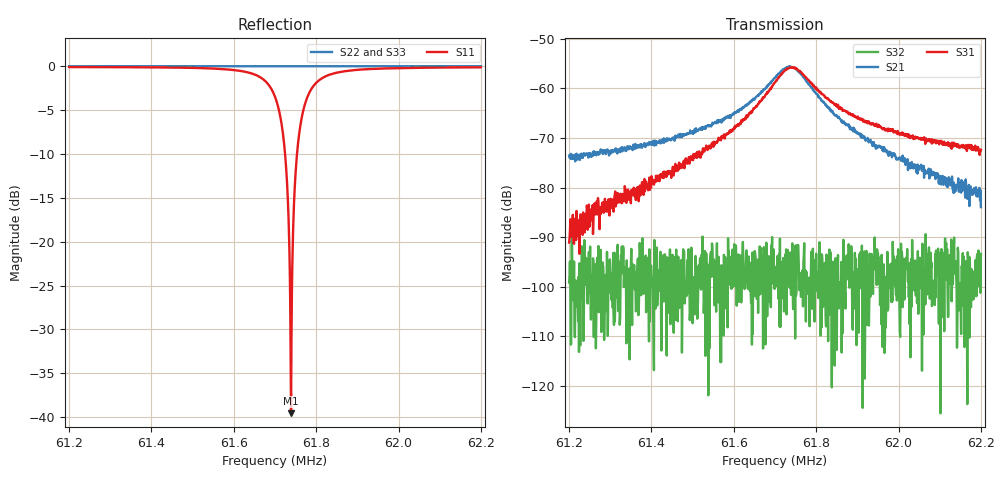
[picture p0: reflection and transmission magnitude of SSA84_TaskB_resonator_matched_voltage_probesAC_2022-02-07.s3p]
#  HZ  S  DB  R  50.00
! Rohde & Schwarz Vector Network Analyzer
! Rohde-Schwarz,ZNB8-4Port,1311601044102961,2.82
! Created: UTC 2/7/2022, 2:55:17 PM
! freq[Hz]  db:S11  ang:S11  db:S12  ang:S12  db:S13  ang:S13
!  db:S21  ang:S21  db:S22  ang:S22  db:S23  ang:S23
!  db:S31  ang:S31  db:S32  ang:S32  db:S33  ang:S33
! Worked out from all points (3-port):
!   1001 points, 61.2 MHz to 62.2 MHz, reference 50 ohm
!   strongest paths, dB at 61.2 MHz, 61.45 MHz, 61.7 MHz, 61.95 MHz, 62.2 MHz:
!     S31: -91.1, -76.8, -58.8, -67.7, -72.4
!     S21: -73.6, -70.3, -57.9, -71.9, -83.9
!     S32: -99.2, -96.9, -96.0, -93.3, -93.4
!   lowest |S11| = -39.6 dB at 61.739 MHz (marker M1), VSWR 1.02, Z = 51 + j0.429 ohm
!   |S11| at or under -10 dB: 61.72441 MHz to 61.75349 MHz (29.08 kHz wide, 0.0471 % of centre)
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6.12e7  -0.12 12.4  -74.03 71.7  -88.25 -124.3
        -73.55 68.2  -0.02 -46.3  -95.10 -164.5
        -91.08 -141.1  -99.17 -26.2  -0.02 -41.5
6.1409e7  -0.16 6.0  -70.77 64.9  -78.34 -113.1
          -71.35 69.5  -0.03 -46.4  -90.73 124.5
          -78.57 -119.7  -93.30 98.0  -0.02 -41.7
6.1626e7  -0.64 -11.1  -63.67 51.9  -66.09 -126.9
          -63.74 50.9  -0.03 -46.6  -101.18 118.0
          -66.31 -127.7  -100.47 -20.1  -0.01 -41.8
6.17e7  -3.50 -39.4  -57.87 24.3  -58.83 -156.4
        -57.87 24.3  -0.03 -46.6  -98.80 -96.0
        -58.79 -156.5  -95.98 -0.5  -0.02 -41.9
6.1724e7  -9.78 -62.1  -55.95 0.2  -56.42 -179.5
          -55.97 0.8  -0.03 -46.7  -105.88 46.2
          -56.36 -179.9  -97.69 45.5  -0.01 -41.9
6.1739e7  -39.55 23.5  -55.68 -19.3  -55.79 160.7
          -55.64 -19.2  -0.03 -46.7  -95.88 40.9
          -55.82 160.9  -101.64 -12.6  -0.01 -41.9
6.1757e7  -8.37 72.4  -56.58 -41.7  -56.36 137.8
          -56.54 -41.9  -0.03 -46.7  -100.94 95.0
          -56.43 137.9  -93.14 92.9  -0.02 -41.9
6.1796e7  -2.12 43.0  -60.78 -71.1  -59.73 106.8
          -60.71 -71.2  -0.03 -46.7  -98.61 -96.9
          -59.76 108.3  -107.02 32.5  -0.02 -42.0
6.1898e7  -0.45 20.0  -68.95 -93.1  -65.83 86.6
          -68.74 -93.5  -0.02 -46.8  -114.07 37.4
          -65.80 86.4  -111.78 87.6  -0.02 -42.0
6.22e7  -0.15 5.2  -81.77 -104.6  -72.40 72.8
        -83.94 -98.9  -0.02 -47.0  -96.41 11.2
        -72.37 73.6  -93.35 -89.5  -0.02 -42.2
